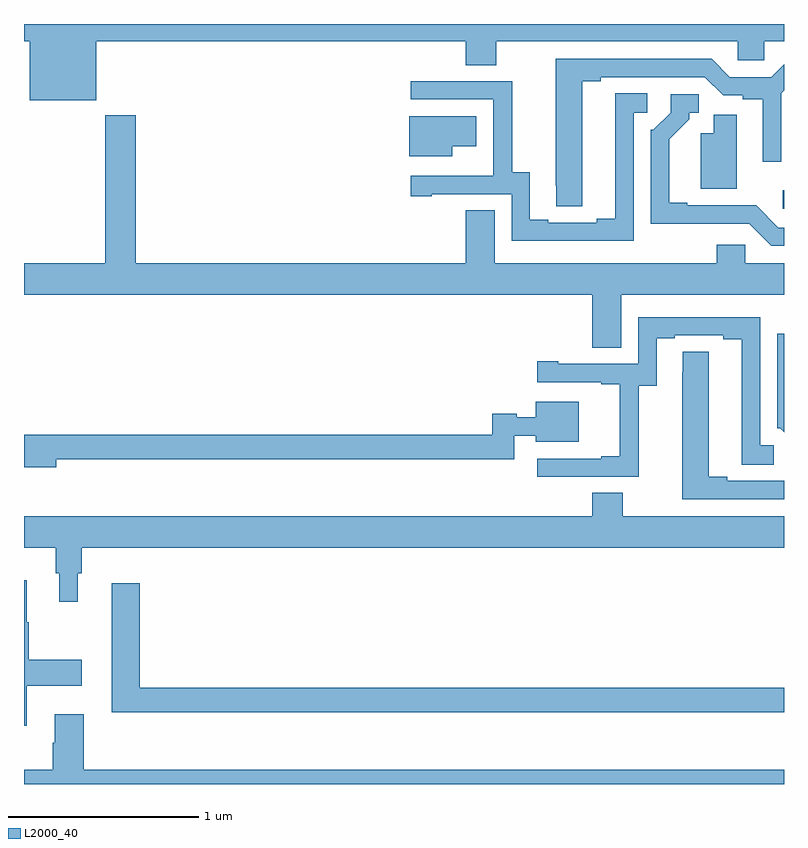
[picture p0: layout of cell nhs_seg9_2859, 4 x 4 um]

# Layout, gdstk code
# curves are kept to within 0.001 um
import gdstk
lib = gdstk.Library(unit=1e-6, precision=1e-09)
def R(c, l, rs):  # rectangles x0, y0, x1, y1
    for r in rs: c.add(gdstk.rectangle(r[:2], r[2:], *l))
def P(c, l, *ps):  # polygons
    for p in ps: c.add(gdstk.Polygon(p, *l))
L2000_40 = (2000, 40)

nhs_seg9_2859 = lib.new_cell('nhs_seg9_2859')
R(nhs_seg9_2859, L2000_40, [(278.994,1207.527,279,1207.624)])
P(nhs_seg9_2859, L2000_40, [(275.38,1208.408),(277.325,1208.408),(277.325,1208.284),(277.485,1208.284),(277.485,1208.408),(278.757,1208.408),(278.757,1208.31),(278.895,1208.31),(278.895,1208.408),(279,1208.408),(279,1208.5),(275,1208.5),(275,1208.408),(275.03,1208.408),(275.03,1208.099),(275.38,1208.099)],
  [(277.939,1208.2),(278.035,1208.2),(278.035,1208.22),(278.583,1208.22),(278.679,1208.124),(278.784,1208.124),(278.784,1208.104),(278.888,1208.104),(278.888,1207.776),(278.985,1207.776),(278.985,1208.136),(279,1208.151),(279,1208.287),(278.933,1208.22),(278.715,1208.22),(278.619,1208.316),(277.799,1208.316),(277.8,1207.54),(277.939,1207.54)],
  [(278.208,1208.034),(278.281,1208.034),(278.281,1208.135),(278.111,1208.135),(278.111,1207.475),(278.015,1207.475),(278.015,1207.455),(277.759,1207.455),(277.759,1207.47),(277.663,1207.47),(277.663,1207.721),(277.569,1207.721),(277.569,1208.199),(277.035,1208.199),(277.035,1208.103),(277.47,1208.103),(277.47,1207.702),(277.469,1207.702),(277.469,1207.701),(277.035,1207.701),(277.035,1207.593),(277.147,1207.593),(277.147,1207.605),(277.566,1207.605),(277.566,1207.359),(278.208,1207.359)],
  [(279,1207.428),(278.97,1207.428),(278.853,1207.545),(278.491,1207.545),(278.491,1207.558),(278.395,1207.558),(278.395,1207.894),(278.5,1207.999),(278.5,1208.034),(278.55,1208.034),(278.55,1208.13),(278.403,1208.13),(278.403,1208.034),(278.313,1207.944),(278.298,1207.944),(278.298,1207.448),(278.817,1207.449),(278.934,1207.332),(279,1207.332)],
  [(278.752,1208.022),(278.63,1208.022),(278.63,1207.924),(278.561,1207.924),(278.561,1207.634),(278.752,1207.634)],
  [(278.143,1207.076),(279,1207.076),(279,1207.24),(278.796,1207.24),(278.796,1207.338),(278.645,1207.338),(278.645,1207.24),(277.477,1207.24),(277.477,1207.52),(277.325,1207.52),(277.325,1207.24),(275.588,1207.24),(275.588,1208.02),(275.428,1208.02),(275.428,1207.24),(275,1207.24),(275,1207.076),(277.991,1207.076),(277.991,1206.796),(278.143,1206.796)],
  [(277.255,1207.856),(277.381,1207.856),(277.381,1208.014),(277.028,1208.014),(277.028,1207.805),(277.255,1207.805)],
  [(278.235,1206.595),(278.329,1206.595),(278.329,1206.846),(278.425,1206.846),(278.425,1206.861),(278.681,1206.861),(278.681,1206.841),(278.777,1206.841),(278.777,1206.181),(278.947,1206.181),(278.947,1206.282),(278.874,1206.282),(278.874,1206.957),(278.232,1206.957),(278.232,1206.711),(277.813,1206.711),(277.813,1206.724),(277.701,1206.724),(277.701,1206.615),(278.039,1206.615),(278.039,1206.603),(278.135,1206.603),(278.135,1206.226),(278.039,1206.226),(278.039,1206.213),(277.701,1206.213),(277.701,1206.117),(278.235,1206.117)],
  [(279,1206.869),(278.964,1206.869),(278.964,1206.372),(278.979,1206.372),(279,1206.351)],
  [(279,1206.096),(278.701,1206.096),(278.701,1206.116),(278.605,1206.116),(278.605,1206.776),(278.466,1206.776),(278.466,1206.668),(278.465,1206.668),(278.465,1206),(279,1206)],
  [(275.17,1206.21),(277.581,1206.21),(277.581,1206.333),(277.694,1206.333),(277.694,1206.302),(277.921,1206.302),(277.921,1206.511),(277.694,1206.511),(277.694,1206.431),(277.593,1206.431),(277.593,1206.449),(277.465,1206.449),(277.465,1206.338),(275,1206.338),(275,1206.167),(275.17,1206.167)],
  [(275.284,1205.61),(275.303,1205.61),(275.303,1205.744),(279,1205.744),(279,1205.908),(278.151,1205.908),(278.151,1206.032),(277.991,1206.032),(277.991,1205.908),(275,1205.908),(275,1205.744),(275.167,1205.744),(275.167,1205.61),(275.186,1205.61),(275.186,1205.46),(275.284,1205.46)],
  [(275.014,1205.018),(275.305,1205.018),(275.305,1205.153),(275.026,1205.153),(275.026,1205.352),(275.014,1205.352),(275.014,1205.572),(275,1205.572),(275,1204.806),(275.014,1204.806)],
  [(279,1205.006),(275.609,1205.006),(275.609,1205.557),(275.462,1205.557),(275.462,1204.878),(279,1204.878)],
  [(279,1204.576),(275.315,1204.576),(275.315,1204.867),(275.162,1204.867),(275.162,1204.718),(275.15,1204.718),(275.15,1204.576),(275,1204.576),(275,1204.5),(279,1204.5)])

lib.write_gds('nhs_seg9_2859.gds')
